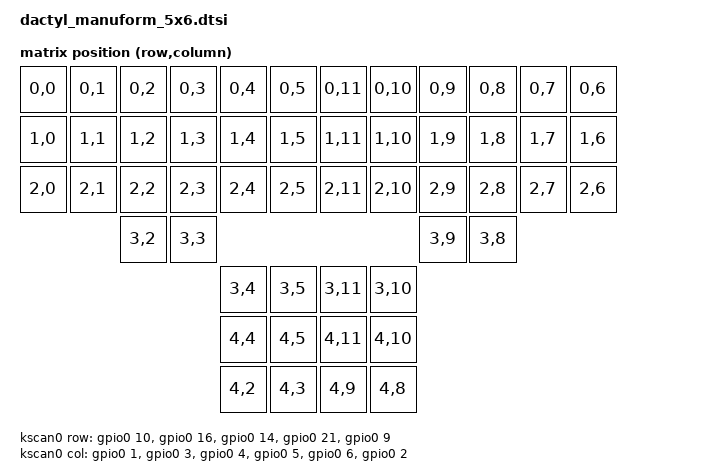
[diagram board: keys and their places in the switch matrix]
#include <dt-bindings/zmk/matrix_transform.h>
#include <dt-bindings/zmk/outputs.h>

/ {
    chosen {
        zmk,kscan = &kscan0;
        zmk,matrix_transform = &default_transform;
    };

    default_transform: keymap_transform_0 {
        compatible = "zmk,matrix-transform";
        columns = <12>;
        rows = <5>;
        /*
         * This map describes how your physical key presses are translated
         * into a logical grid for the keymap below. It is designed to match
         * the physical layout of your Dactyl Manuform.
         */
        map = <
        // Left Hand                                                              // Right Hand
        RC(0,0) RC(0,1) RC(0,2) RC(0,3) RC(0,4) RC(0,5)      RC(0,11) RC(0,10) RC(0,9)  RC(0,8) RC(0,7) RC(0,6)
        RC(1,0) RC(1,1) RC(1,2) RC(1,3) RC(1,4) RC(1,5)      RC(1,11) RC(1,10) RC(1,9)  RC(1,8) RC(1,7) RC(1,6)
        RC(2,0) RC(2,1) RC(2,2) RC(2,3) RC(2,4) RC(2,5)      RC(2,11) RC(2,10) RC(2,9)  RC(2,8) RC(2,7) RC(2,6)
        // Bottom finger row keys
                        RC(3,2) RC(3,3)                                        RC(3,9)  RC(3,8)
        // Two thumb keys on the bottom finger row (phys row 3, cols 4 & 5)
                                        RC(3,4) RC(3,5)      RC(3,11) RC(3,10)
        // Four thumb keys on the dedicated thumb row (phys row 4, cols 2,3,4,5)
                                        RC(4,4) RC(4,5)      RC(4,11) RC(4,10)
                                        RC(4,2) RC(4,3)      RC(4,9)  RC(4,8)

                                                                
                                         
        >;
    };

    kscan0: kscan {
        compatible = "zmk,kscan-gpio-matrix";
        label = "KSCAN";
        diode-direction = "col2row";

        col-gpios = <&gpio0 1 0x0>, <&gpio0 3 0x0>, <&gpio0 4 0x0>, <&gpio0 5 0x0>, <&gpio0 6 0x0>, <&gpio0 2 0x0>;
        row-gpios = <&gpio0 10 0x2>, <&gpio0 16 0x2>, <&gpio0 14 0x2>, <&gpio0 21 0x2>, <&gpio0 9 0x2>;
    };
};



// Custom I2C Bus Definition for Split Communication
&uart0 {
    status = "okay";
    current-speed = <115200>;
};

/ {
    behaviors {
        reset: reset_behavior {
            compatible = "zmk,behavior-reset";
            #binding-cells = <0>;
        };
    };
};

